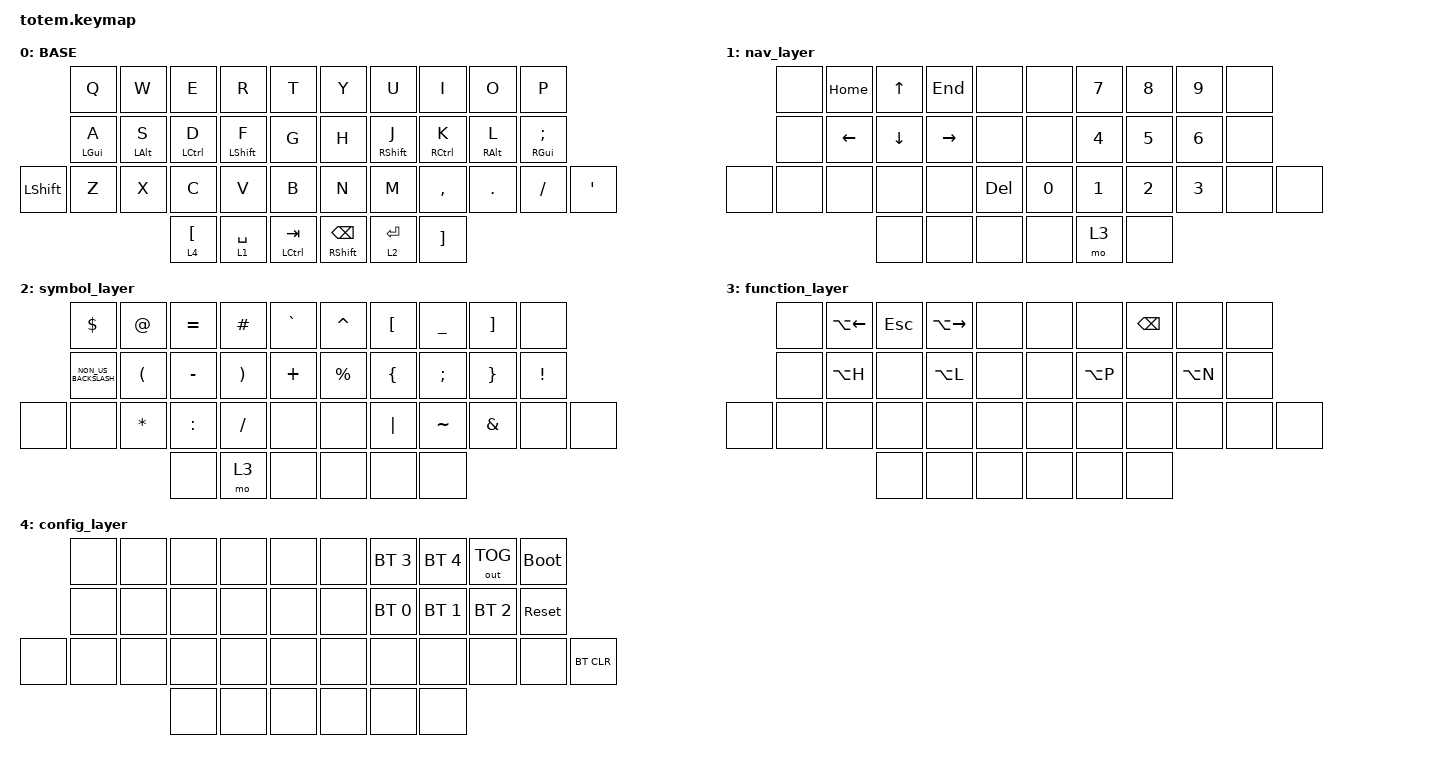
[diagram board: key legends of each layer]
//
//                                                        ▀▀▀▀▀     ▀▀▀▀▀          ▀▀█▀▀
//                                                        ▄▀▀▀▄  ▄  ▄▀▀▀▄  ▄  ▄▀▀▀▄  █  ▄▀▀▀▄
//                                                        █   █  █  █   █  █  █   █  █  █   █
//                                                         ▀▀▀   █   ▀▀▀   █   ▀▀▀   ▀   ▀▀▀
//                                                               █      ▄▄▄█▄▄▄    █   █  
//                                                               ▀      █  █  █     █▄█
//                                                             ▀▀▀▀▀    █  █  █      ▀
//                                                                      ▀  ▀  ▀
//
// ▄▄▄▄▄▄▄▄▄▄▄▄▄▄▄▄▄▄▄▄▄▄▄▄▄▄▄▄▄▄▄▄▄▄▄▄▄▄▄▄▄▄▄▄▄▄▄▄▄▄▄▄▄▄▄▄▄▄▄▄▄▄▄▄▄▄▄▄▄▄▄▄▄▄▄▄▄▄▄▄▄▄▄▄▄▄▄▄▄▄▄▄▄▄▄▄▄▄▄▄▄▄▄▄▄▄▄▄▄▄▄▄▄▄▄▄▄▄▄▄▄▄▄▄▄▄▄▄▄▄▄▄▄▄▄▄▄▄▄▄▄▄▄▄▄▄▄▄▄

#include <behaviors.dtsi>
#include <dt-bindings/zmk/bt.h>
#include <dt-bindings/zmk/keys.h>
#include <dt-bindings/zmk/outputs.h>

#define BASE 0
#define NAV  1
#define SYM  2
#define ADJ  3
#define TVP1 4
#define TVP2 5

&lt {
    flavor = "balanced";
    quick-tap-ms = <175>;
    tapping-term-ms = <280>;
    require-prior-idle-ms = <50>;
};

/ {
    combos {
        compatible = "zmk,combos";

        esc_combo {
            bindings = <&kp ESCAPE>;
            key-positions = <13 16>;
        };
    };

    macros {
        accent: acute {
            compatible = "zmk,behavior-macro-two-param";
            #binding-cells = <2>;
            bindings =
                <&macro_tap>,
                <&macro_param_1to1 &kp MACRO_PLACEHOLDER>,
                <&macro_tap>,
                <&macro_param_2to1 &kp MACRO_PLACEHOLDER>;

            label = "ACUTE";
        };
    };

    behaviors {
        hml: hml {
            compatible = "zmk,behavior-hold-tap";
            label = "HML";
            bindings = <&kp>, <&kp>;

            #binding-cells = <2>;
            tapping-term-ms = <280>;
            quick-tap-ms = <175>;
            flavor = "balanced";
            hold-trigger-on-release;
            hold-trigger-key-positions = <5 6 7 8 9 15 16 17 18 19 26 27 28 29 30 31 35 36 37>;
            require-prior-idle-ms = <50>;
        };

        hmr: hmr {
            compatible = "zmk,behavior-hold-tap";
            label = "HMR";
            bindings = <&kp>, <&kp>;

            #binding-cells = <2>;
            tapping-term-ms = <280>;
            quick-tap-ms = <175>;
            flavor = "balanced";
            hold-trigger-on-release;
            hold-trigger-key-positions = <0 1 2 3 4 10 11 12 13 14 20 21 22 23 24 25 32 33 34>;
            require-prior-idle-ms = <50>;
        };

        a_acute: a_acute {
            compatible = "zmk,behavior-mod-morph";
            label = "A_ACUTE";
            bindings = <&accent RA(E) A>, <&accent RA(E) LS(A)>;

            #binding-cells = <0>;
            mods = <(MOD_LSFT|MOD_RSFT)>;
        };

        o_acute: o_acute {
            compatible = "zmk,behavior-mod-morph";
            label = "O_ACUTE";
            #binding-cells = <0>;
            mods = <(MOD_LSFT|MOD_RSFT)>;
            bindings = <&accent RA(E) O>, <&accent RA(E) LS(O)>;
        };

        e_acute: e_acute {
            compatible = "zmk,behavior-mod-morph";
            label = "E_ACUTE";
            #binding-cells = <0>;
            mods = <(MOD_LSFT|MOD_RSFT)>;
            bindings = <&accent RA(E) E>, <&accent RA(E) LS(E)>;
        };

        i_acute: i_acute {
            compatible = "zmk,behavior-mod-morph";
            label = "I_ACUTE";
            #binding-cells = <0>;
            mods = <(MOD_LSFT|MOD_RSFT)>;
            bindings = <&accent RA(E) I>, <&accent RA(E) LS(I)>;
        };

        u_acute: u_acute {
            compatible = "zmk,behavior-mod-morph";
            label = "U_ACUTE";
            #binding-cells = <0>;
            mods = <(MOD_LSFT|MOD_RSFT)>;
            bindings = <&accent RA(E) U>, <&accent RA(E) LS(U)>;
        };

        a_tilde: a_tilde {
            compatible = "zmk,behavior-mod-morph";
            label = "A_TILDE";
            #binding-cells = <0>;
            mods = <(MOD_LSFT|MOD_RSFT)>;
            bindings = <&accent RA(N) A>, <&accent RA(N) LS(A)>;
        };

        o_tilde: o_tilde {
            compatible = "zmk,behavior-mod-morph";
            label = "O_TILDE";
            #binding-cells = <0>;
            mods = <(MOD_LSFT|MOD_RSFT)>;
            bindings = <&accent RA(N) O>, <&accent RA(N) LS(O)>;
        };

        a_circ: a_circ {
            compatible = "zmk,behavior-mod-morph";
            label = "A_CIRC";
            #binding-cells = <0>;
            mods = <(MOD_LSFT|MOD_RSFT)>;
            bindings = <&accent RA(I) A>, <&accent RA(I) LS(A)>;
        };

        o_circ: o_circ {
            compatible = "zmk,behavior-mod-morph";
            label = "O_CIRC";
            #binding-cells = <0>;
            mods = <(MOD_LSFT|MOD_RSFT)>;
            bindings = <&accent RA(I) O>, <&accent RA(I) LS(O)>;
        };

        e_circ: e_circ {
            compatible = "zmk,behavior-mod-morph";
            label = "E_CIRC";
            #binding-cells = <0>;
            mods = <(MOD_LSFT|MOD_RSFT)>;
            bindings = <&accent RA(I) E>, <&accent RA(I) LS(E)>;
        };

        a_grave: a_grave {
            compatible = "zmk,behavior-mod-morph";
            label = "A_GRAVE";
            #binding-cells = <0>;
            mods = <(MOD_LSFT|MOD_RSFT)>;
            bindings = <&accent RA(GRAVE) A>, <&accent RA(GRAVE) LS(A)>;
        };

        thl: thl {
            compatible = "zmk,behavior-hold-tap";
            label = "THL";
            #binding-cells = <2>;
            bindings = <&mo>, <&kp>;

            tapping-term-ms = <170>;
            hold-trigger-key-positions = <5 15 26 7 8 9 17 18 19 28 29 30 31 16 27 6 35 36 37>;
            hold-trigger-on-release;
            quick-tap-ms = <125>;
            require-prior-idle-ms = <50>;
            flavor = "balanced";
        };

        thr: thr {
            compatible = "zmk,behavior-hold-tap";
            label = "THR";
            #binding-cells = <2>;
            bindings = <&mo>, <&kp>;

            tapping-term-ms = <170>;
            hold-trigger-on-release;
            quick-tap-ms = <125>;
            require-prior-idle-ms = <50>;
            flavor = "balanced";
            hold-trigger-key-positions = <0 1 2 3 4 10 11 12 13 14 20 21 22 23 24 25 32 33 34>;
        };
    };

    keymap {
        compatible = "zmk,keymap";

        // ▄▄▄▄▄▄▄▄▄▄▄▄▄▄▄▄▄▄▄▄▄▄▄▄▄▄▄▄▄▄▄▄▄▄▄▄▄▄▄▄▄▄▄▄▄▄▄▄▄▄▄▄▄▄▄▄▄▄▄▄▄▄▄▄▄▄▄▄▄▄▄▄▄▄▄▄▄▄▄▄▄▄▄▄▄▄▄▄▄▄▄▄▄▄▄▄▄▄▄▄▄▄▄▄▄▄▄▄▄▄▄▄▄▄▄▄▄▄▄▄▄▄▄▄▄▄▄▄▄▄▄▄▄▄▄▄▄▄▄▄▄▄▄▄▄▄▄▄▄

        base_layer {
            // ┏━━━━━━━━━━━━━━━━━━━━━━━━━━━━━━━━━━━━━━━┓

            label = "BASE";

            // ┗━━━━━━━━━━━━━━━━━━━━━━━━━━━━━━━━━━━━━━━┛
            //             ┏━━━━━━━━━━━┳━━━━━━━━━━━┳━━━━━━━━━━━┳━━━━━━━━━━━┳━━━━━━━━━━━┓   ┏━━━━━━━━━━━┳━━━━━━━━━━━┳━━━━━━━━━━━┳━━━━━━━━━━━┳━━━━━━━━━━━┓
            //             ┃     Q     ┃     W     ┃     F     ┃     P     ┃     G     ┃   ┃     J     ┃     L     ┃     U     ┃     Y     ┃     ;     ┃
            //             ┣━━━━━━━━━━━╋━━━━━━━━━━━╋━━━━━━━━━━━╋━━━━━━━━━━━╋━━━━━━━━━━━┫   ┣━━━━━━━━━━━╋━━━━━━━━━━━╋━━━━━━━━━━━╋━━━━━━━━━━━╋━━━━━━━━━━━┫
            //             ┃     A     ┃     R     ┃     S     ┃     T     ┃     D     ┃   ┃     H     ┃     N     ┃     E     ┃     I     ┃     O     ┃
            // ┏━━━━━━━━━━━╋━━━━━━━━━━━╋━━━━━━━━━━━╋━━━━━━━━━━━╋━━━━━━━━━━━╋━━━━━━━━━━━┫   ┣━━━━━━━━━━━╋━━━━━━━━━━━╋━━━━━━━━━━━╋━━━━━━━━━━━╋━━━━━━━━━━━╋━━━━━━━━━━━┓
            // ┃     Q     ┃     Z     ┃     X     ┃     C     ┃     V     ┃     B     ┃   ┃     K     ┃     M     ┃     ,     ┃     .     ┃     /     ┃     \     ┃
            // ┗━━━━━━━━━━━┻━━━━━━━━━━━┻━━━━━━━━━━━╋━━━━━━━━━━━╋━━━━━━━━━━━╋━━━━━━━━━━━┫   ┣━━━━━━━━━━━╋━━━━━━━━━━━╋━━━━━━━━━━━╋━━━━━━━━━━━┻━━━━━━━━━━━┻━━━━━━━━━━━┛
            //                                     ┃    DEL    ┃    TAB    ┃    SPC    ┃   ┃   ENTER   ┃           ┃   BSPC    ┃
            //                                     ┗━━━━━━━━━━━┻━━━━━━━━━━━┻━━━━━━━━━━━┛   ┗━━━━━━━━━━━┻━━━━━━━━━━━┻━━━━━━━━━━━┛

            bindings = <
           &kp Q            &kp W            &kp E                &kp R          &kp T             &kp Y                       &kp U         &kp I              &kp O             &kp P
           &hml LEFT_GUI A  &hml LEFT_ALT S  &hml LCTRL D         &hml LSHIFT F  &kp G             &kp H                       &hmr RSHFT J  &hmr RCTRL K       &hmr RIGHT_ALT L  &hmr RIGHT_GUI SEMICOLON
&kp LSHFT  &kp Z            &kp X            &kp C                &kp V          &kp B             &kp N                       &kp M         &kp COMMA          &kp DOT           &kp FSLH                  &kp SQT
                                             &thl 4 LEFT_BRACKET  &thl 1 SPACE   &hml LCTRL TAB    &hmr RIGHT_SHIFT BACKSPACE  &thr 2 ENTER  &kp RIGHT_BRACKET
            >;
        };

        nav_layer {
            bindings = <
       &none  &kp HOME        &kp UP_ARROW    &kp END          &none         &none         &kp NUMBER_7  &kp NUMBER_8  &kp NUMBER_9  &none
       &none  &kp LEFT_ARROW  &kp DOWN_ARROW  &kp RIGHT_ARROW  &none         &none         &kp NUMBER_4  &kp NUMBER_5  &kp NUMBER_6  &none
&none  &none  &none           &none           &none            &kp DELETE    &kp NUMBER_0  &kp NUMBER_1  &kp NUMBER_2  &kp NUMBER_3  &none  &none
                              &none           &none            &none         &none         &mo 3         &none
            >;
        };

        symbol_layer {
            bindings = <
       &kp DOLLAR            &kp AT_SIGN           &kp EQUAL  &kp HASH   &kp GRAVE    &kp CARET    &kp LEFT_BRACKET  &kp UNDERSCORE  &kp RIGHT_BRACKET  &none
       &kp NON_US_BACKSLASH  &kp LEFT_PARENTHESIS  &kp MINUS  &kp RPAR   &kp PLUS     &kp PERCENT  &kp LEFT_BRACE    &kp SEMICOLON   &kp RIGHT_BRACE    &kp EXCLAMATION
&none  &none                 &kp ASTERISK          &kp COLON  &kp SLASH  &none        &none        &kp PIPE          &kp TILDE       &kp AMPERSAND      &none            &none
                                                   &none      &mo 3      &none        &none        &none             &none
            >;
        };

        function_layer {
            bindings = <
       &none  &kp LA(LEFT_ARROW)  &kp ESCAPE  &kp LA(RIGHT_ARROW)  &none    &none  &none      &kp BACKSPACE  &none      &none
       &none  &kp LA(H)           &none       &kp LA(L)            &none    &none  &kp LA(P)  &none          &kp LA(N)  &none
&none  &none  &none               &none       &none                &none    &none  &none      &none          &none      &none  &none
                                  &none       &none                &none    &none  &none      &none
            >;
        };

        config_layer {
            bindings = <
       &none  &none  &none  &none  &none    &none  &bt BT_SEL 3  &bt BT_SEL 4  &out OUT_TOG  &bootloader
       &none  &none  &none  &none  &none    &none  &bt BT_SEL 0  &bt BT_SEL 1  &bt BT_SEL 2  &sys_reset
&none  &none  &none  &none  &none  &none    &none  &none         &none         &none         &none        &bt BT_CLR
                     &none  &none  &none    &none  &none         &none
            >;
        };

        // ▄▄▄▄▄▄▄▄▄▄▄▄▄▄▄▄▄▄▄▄▄▄▄▄▄▄▄▄▄▄▄▄▄▄▄▄▄▄▄▄▄▄▄▄▄▄▄▄▄▄▄▄▄▄▄▄▄▄▄▄▄▄▄▄▄▄▄▄▄▄▄▄▄▄▄▄▄▄▄▄▄▄▄▄▄▄▄▄▄▄▄▄▄▄▄▄▄▄▄▄▄▄▄▄▄▄▄▄▄▄▄▄▄▄▄▄▄▄▄▄▄▄▄▄▄▄▄▄▄▄▄▄▄▄▄▄▄▄▄▄▄▄▄▄▄▄▄▄▄
        // ▄▄▄▄▄▄▄▄▄▄▄▄▄▄▄▄▄▄▄▄▄▄▄▄▄▄▄▄▄▄▄▄▄▄▄▄▄▄▄▄▄▄▄▄▄▄▄▄▄▄▄▄▄▄▄▄▄▄▄▄▄▄▄▄▄▄▄▄▄▄▄▄▄▄▄▄▄▄▄▄▄▄▄▄▄▄▄▄▄▄▄▄▄▄▄▄▄▄▄▄▄▄▄▄▄▄▄▄▄▄▄▄▄▄▄▄▄▄▄▄▄▄▄▄▄▄▄▄▄▄▄▄▄▄▄▄▄▄▄▄▄▄▄▄▄▄▄▄▄
        // ▄▄▄▄▄▄▄▄▄▄▄▄▄▄▄▄▄▄▄▄▄▄▄▄▄▄▄▄▄▄▄▄▄▄▄▄▄▄▄▄▄▄▄▄▄▄▄▄▄▄▄▄▄▄▄▄▄▄▄▄▄▄▄▄▄▄▄▄▄▄▄▄▄▄▄▄▄▄▄▄▄▄▄▄▄▄▄▄▄▄▄▄▄▄▄▄▄▄▄▄▄▄▄▄▄▄▄▄▄▄▄▄▄▄▄▄▄▄▄▄▄▄▄▄▄▄▄▄▄▄▄▄▄▄▄▄▄▄▄▄▄▄▄▄▄▄▄▄▄
        // ▄▄▄▄▄▄▄▄▄▄▄▄▄▄▄▄▄▄▄▄▄▄▄▄▄▄▄▄▄▄▄▄▄▄▄▄▄▄▄▄▄▄▄▄▄▄▄▄▄▄▄▄▄▄▄▄▄▄▄▄▄▄▄▄▄▄▄▄▄▄▄▄▄▄▄▄▄▄▄▄▄▄▄▄▄▄▄▄▄▄▄▄▄▄▄▄▄▄▄▄▄▄▄▄▄▄▄▄▄▄▄▄▄▄▄▄▄▄▄▄▄▄▄▄▄▄▄▄▄▄▄▄▄▄▄▄▄▄▄▄▄▄▄▄▄▄▄▄▄
        // ▄▄▄▄▄▄▄▄▄▄▄▄▄▄▄▄▄▄▄▄▄▄▄▄▄▄▄▄▄▄▄▄▄▄▄▄▄▄▄▄▄▄▄▄▄▄▄▄▄▄▄▄▄▄▄▄▄▄▄▄▄▄▄▄▄▄▄▄▄▄▄▄▄▄▄▄▄▄▄▄▄▄▄▄▄▄▄▄▄▄▄▄▄▄▄▄▄▄▄▄▄▄▄▄▄▄▄▄▄▄▄▄▄▄▄▄▄▄▄▄▄▄▄▄▄▄▄▄▄▄▄▄▄▄▄▄▄▄▄▄▄▄▄▄▄▄▄▄▄
    };
};
